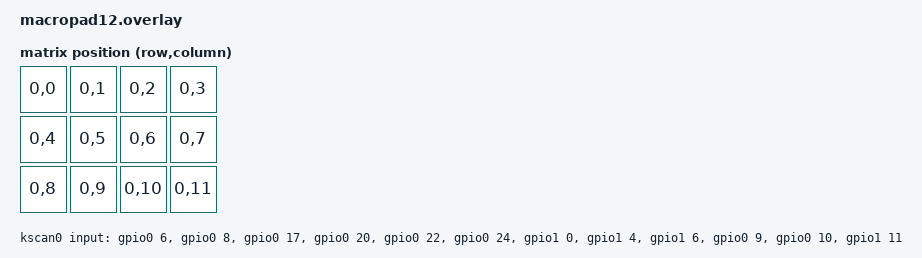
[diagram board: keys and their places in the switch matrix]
#include <dt-bindings/zmk/matrix_transform.h>

/ {
    chosen {
        zmk,kscan = &kscan0;
        zmk,physical-layout = &physical_layout0;
    };

    kscan0: kscan_0 {
        compatible = "zmk,kscan-gpio-direct";
        
    input-gpios
            = <&gpio0 6 (GPIO_ACTIVE_LOW | GPIO_PULL_UP)>
            , <&gpio0 8 (GPIO_ACTIVE_LOW | GPIO_PULL_UP)>
            , <&gpio0 17 (GPIO_ACTIVE_LOW | GPIO_PULL_UP)>
            , <&gpio0 20 (GPIO_ACTIVE_LOW | GPIO_PULL_UP)>
            , <&gpio0 22 (GPIO_ACTIVE_LOW | GPIO_PULL_UP)>
            , <&gpio0 24 (GPIO_ACTIVE_LOW | GPIO_PULL_UP)>
            , <&gpio1 0 (GPIO_ACTIVE_LOW | GPIO_PULL_UP)>
            , <&gpio1 4 (GPIO_ACTIVE_LOW | GPIO_PULL_UP)>
            , <&gpio1 6 (GPIO_ACTIVE_LOW | GPIO_PULL_UP)>
            , <&gpio0 9 (GPIO_ACTIVE_LOW | GPIO_PULL_UP)>
            , <&gpio0 10 (GPIO_ACTIVE_LOW | GPIO_PULL_UP)>
            , <&gpio1 11 (GPIO_ACTIVE_LOW | GPIO_PULL_UP)>
            ;
    };

    physical_layout0: physical_layout_0 {
        compatible = "zmk,physical-layout";
        display-name = "12-Key Direct";
        kscan = <&kscan0>;
        
        transform = <&layout_transform0>;
    };

    layout_transform0: layout_transform_0 {
        compatible = "zmk,matrix-transform";
        columns = <12>;
        rows = <1>;
        map = <
            RC(0,0) RC(0,1) RC(0,2)  RC(0,3)
            RC(0,4) RC(0,5) RC(0,6)  RC(0,7)
            RC(0,8) RC(0,9) RC(0,10) RC(0,11)
        >;
    };
};
